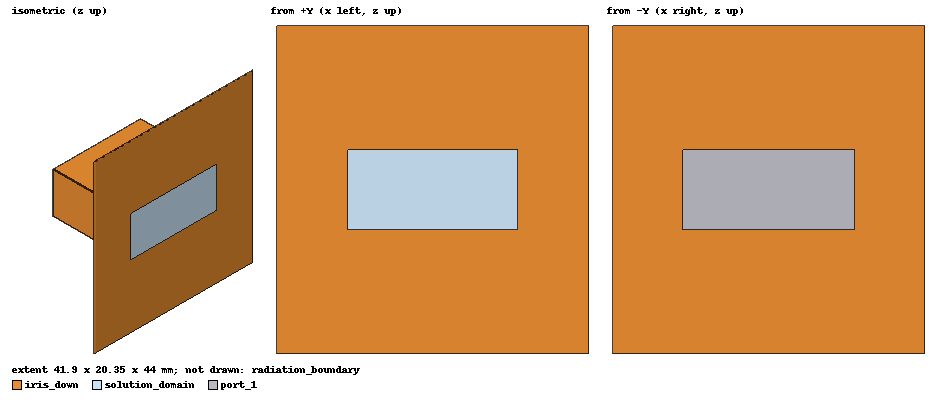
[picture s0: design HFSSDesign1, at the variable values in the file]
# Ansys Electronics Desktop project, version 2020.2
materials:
  vacuum: permittivity=1
  copper: permeability=0.999991 conductivity=58000000
  pec: conductivity=1e+30

design HFSSDesign1 (HFSS, DrivenModal, model units mm)
options: Allow_Material_Override
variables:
  w2 = 0.0106
  w = 0.02286
  t = 0.0001
  l = 0.04
  i = 0.0023
  a = 0.041
  w3 = 0.0419
  w4 = 0.044
  b = 2
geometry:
  Box1 = box(corner=(-w/2-t, -l/2-t, -w2/2-t), size=(w+2*t, (l+2*t)/2+t/2, w2+2*t))
  Box2 = box(corner=(-w/2, -l/2-t, -w2/2), size=(w, l+2*t, w2))
  Box1.subtract(Box2)
  iris_up = box(corner=(-w/2, -t/2, w2/2-i), size=(w, t, i))
  iris_down [copper, solve inside] = box(corner=(-w/2, -t/2, -w2/2), size=(w, t, i))
  solution_domain [vacuum] = box(corner=(-w/2, -l/2-t, -w2/2), size=(w, (l/2+t)+(t/2+t), w2))
  port_1 [pec] = box(corner=(-w/2-t, -l/2-t-t, -w2/2-t), size=(w+2*t, t, w2+2*t))
  outer_flenge = box(corner=(-w3/2, t/2, -w4/2), size=(w3, t, w4))
  inner_flenge = box(corner=(-w/2, t/2, -(w2-2*i)/2), size=(w, t, w2-2*i))
  outer_flenge.subtract(inner_flenge)
  iris_down.unite(Box1, iris_up, outer_flenge)
  radiation_boundary [vacuum] = box(corner=((-w3/2-3*t)*b, (-w3/2)*b, (-w4/2-3*t)*b), size=(b*(w3+6*t), b*w3, b*(w4+6*t)))
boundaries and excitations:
  Rad1: Radiation Objects=radiation_boundary
  1: Wave Port Faces=port_1.face(+y) NumModes=1 DeembedDist=(l-t)/2 Modes{Mode1{CharImp=Zpi}}
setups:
  Setup1: HfssDriven Frequency=12GHz MaxDeltaS=0.02 MaximumPasses=50 MinimumPasses=5 MinimumConvergedPasses=3 PercentRefinement=10 BasisOrder=1 PortAccuracy=2
    sweep Sweep: 8GHz to 12GHz, 41 points; Type=Fast SaveFields
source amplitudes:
  1:1: 1W 0deg
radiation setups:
  Infinite Sphere1: Infinite Sphere Theta=0deg..180deg step 2deg Phi=-180deg..180deg step 2deg
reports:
  S Parameter Plot 1: dB(S(1,1)) vs Freq on Setup1 : Sweep; markers m1 at 10GHz
  Realized Gain Plot 1: dB(RealizedGainTotal) vs Theta on Setup1 : LastAdaptive, Infinite Sphere1 [Phi=90deg Freq=12GHz i=0.0023 b=2]
  Realized Gain Plot 2: dB(RealizedGainTotal) vs Phi on Setup1 : LastAdaptive, Infinite Sphere1 [Theta=90deg Freq=12GHz i=0.0023 b=2]
  S Parameter Plot 2: re(S(1,1)), im(S(1,1)) vs Freq on Setup1 : Sweep; markers m1 at 10GHz, m2 at 10GHz
  Active Z Parameter Plot 1: im(ActiveZ(1:1)) vs Freq on Setup1 : Sweep
